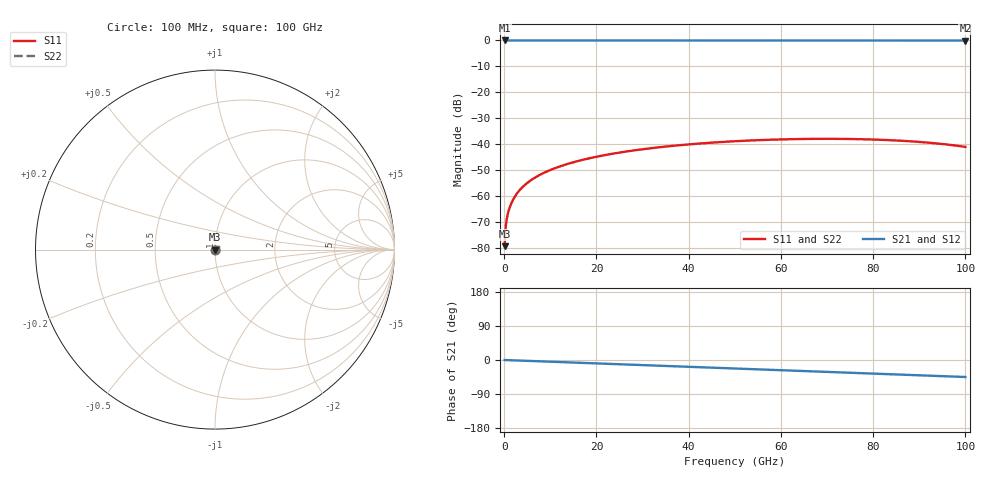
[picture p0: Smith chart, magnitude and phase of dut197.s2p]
! Touchstone file exported from HFSS 2026.1.0
!  File:  C:/ffzhzh/LocalFiles/Ansys_Project_Files/temp_train_TSV_197_1783507394_31944.aedt
!  Generated:  06:44:27 PM Jul  8, 2026
!  Design:  TSV
!  Project:  temp_train_TSV_197_1783507394_31944
! Variables:
!  h_bsmrdl = 2um
!  h_ox = 20um
!  h_rdl = 5um
!  h_sub = 87.86um
!  h_tmrdl = 5um
!  h_tsv = 87.86um
!  h_via = 3um
!  l_bsmrdl = 300um
!  l_sub = 427.7um
!  l_tmrdl = 200um
!  m_sub = 200um
!  pitch = 57.51um
!  r_tsv = 13.85um
!  s_tmrdl = 10um
!  w_bsmrdl = 18um
!  w_sub = 500um
!  w_tmrdl = 12um
!  x_tsv_center1 = 206um
!  x_tsv_center2 = 524um
!  x_tsv_center3 = 736um
!  x_tsv_center4 = 1054um
!  x_tsv_center5 = 1266um
!  x_tsv_center6 = 1584um
# GHz S MA R 50.000000
! Terminal data exported
! Port[1] = TSV1_1_T1
! Port[2] = TSV1_1_T2
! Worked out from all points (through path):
!   1000 points, 100 MHz to 100 GHz, reference 50 ohm
!   highest |S21| = 0.00 dB at 100 MHz (marker M1); lowest = 0.0 dB at 100 GHz (marker M2)
!   group delay of S21, straight-line fit = 1.24 ps
!   lowest |S11| = -79.1 dB at 100 MHz (marker M3), VSWR 1.00, Z = 50 + j0.00722 ohm
!   |S11| at or under -10 dB: start of sweep to end of sweep
!   |S22| runs from -79.1 to -37.8 dB; largest |S21 - S12| = 7.2e-15
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0.1  0.0001103 40.9  0.9999 -0.0  0.9999 -0.0  0.0001103 40.9
! Gamma 0 0 0 0
! Port Impedance 50 0 50 0
0.3  0.0002319 58.6  0.9999 -0.1  0.9999 -0.1  0.0002319 58.6
0.8  0.0004634 61.6  0.9998 -0.4  0.9998 -0.4  0.0004634 61.6
1  0.0005378 62.6  0.9998 -0.5  0.9998 -0.5  0.0005378 62.6
1.3  0.0006443 64.1  0.9997 -0.6  0.9997 -0.6  0.0006443 64.1
1.8  0.0008166 66.1  0.9997 -0.8  0.9997 -0.8  0.0008165 66.1
2.4  0.001017 67.6  0.9996 -1.1  0.9996 -1.1  0.001017 67.6
3.1  0.001241 68.7  0.9996 -1.4  0.9996 -1.4  0.001241 68.7
3.9  0.001486 69.6  0.9995 -1.8  0.9995 -1.8  0.001486 69.6
6.1  0.00213 71.1  0.9994 -2.7  0.9994 -2.7  0.00213 71.1
8.9  0.002916 71.7  0.9993 -4.0  0.9993 -4.0  0.002916 71.7
12.5  0.003884 71.6  0.9991 -5.6  0.9991 -5.6  0.003884 71.6
16.8  0.004993 71.0  0.999 -7.5  0.999 -7.5  0.004993 71.0
24.3  0.006808 69.0  0.9988 -10.9  0.9988 -10.9  0.006807 69.1
33.4  0.008774 66.0  0.9985 -14.9  0.9985 -14.9  0.008774 66.0
41.4  0.01025 62.9  0.9984 -18.5  0.9984 -18.5  0.01025 63.0
50.1  0.01152 59.3  0.9982 -22.4  0.9982 -22.4  0.01152 59.4
66.7  0.01279 51.9  0.9978 -29.8  0.9978 -29.8  0.01278 52.0
75.3  0.01271 47.8  0.9977 -33.7  0.9977 -33.7  0.0127 47.9
83.4  0.0121 43.7  0.9975 -37.3  0.9975 -37.3  0.01209 43.8
92.2  0.01077 38.8  0.9973 -41.3  0.9973 -41.3  0.01077 39.0
100  0.008952 33.9  0.997 -44.9  0.997 -44.9  0.008944 34.1
